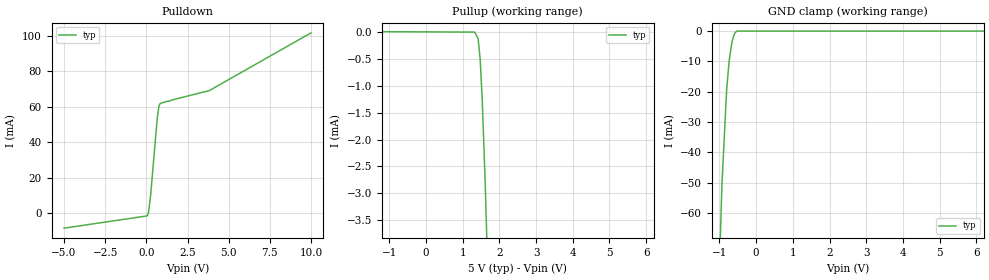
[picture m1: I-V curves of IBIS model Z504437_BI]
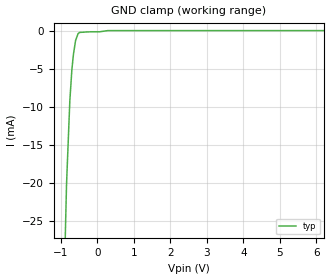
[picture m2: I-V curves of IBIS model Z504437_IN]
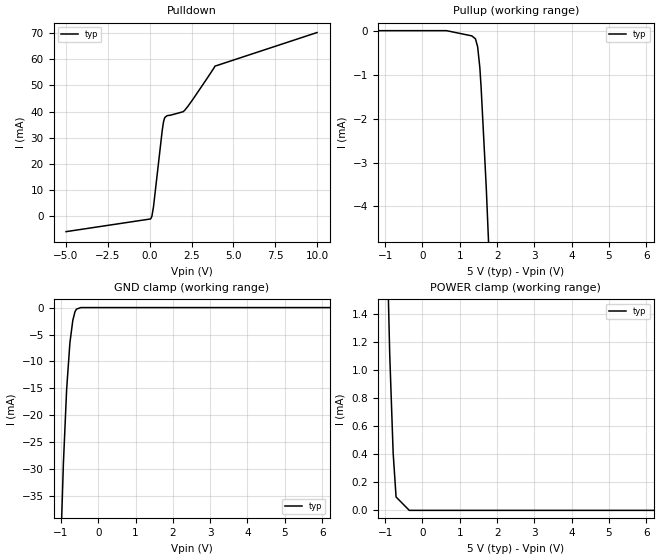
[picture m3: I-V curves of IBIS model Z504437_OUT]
| YOU ARE ONLY AUTHORIZED TO USE THIS SOFTWARE
| ACCORDING TO LICENSOR'S LICENSE RESTRICTIONS.
[IBIS Ver] 3.1
[File Name] sn54ls299j.ibs
[File Rev] 2.0
[Source] Measured and created by ICX Technology
[Date] Friday 7/14/00 9:08:14 AM
[Copyright]
| (C) COPYRIGHT 1993-2000
| MENTOR GRAPHICS CORPORATION
| ICX STANDARD LIBRARY, ICX PROJECT MODELING,
| ICX CUSTOM MODELING, ICX VENDOR MODEL
| ALL RIGHTS RESERVED.
| THE FOLLOWING ARE TRADEMARKS OR SERVICE MARKS OF
| MENTOR GRAPHICS CORPORATION:ICX (R), ICX STANDARD
| LIBRARY(R), ICX PROJECT MODELING(R), ICX CUSTOM
| MODELING(R), qualityIBIS(TM), MODELVIEWER(TM),
| AND MODELEDITOR(TM)
| ALL COPIES OF SOFTWARE, INCLUDING BUT NOT LIMITED TO
| ANY MODIFICATIONS, ENHANCEMENTS OR DERIVATIVE WORKS,
| MUST CONTAIN ALL MENTOR GRAPHICS CORPORATION'S
| NOTICES AND LEGENDS, INCLUDING THOSE EMBEDDED IN
| SOFTWARE AND THOSE AFFIXED TO SOFTWARE MEDIUM
| AND CONTAINER, AS RECEIVED FROM MENTOR GRAPHICS
| CORPORATION.
|  ZAP Model Builder 2.7
[Component] SN54LS299J
[Manufacturer] OnSemiconductor
[Package]
| variable   typ   min   max
R_pkg  .216ohms NA NA
L_pkg  5.76nH NA NA
C_pkg  2.193pF NA NA
[Pin] signal_name  model_name  R_pin  L_pin C_pin
1 S0 Z504437_IN .232 9.76n 3.179p
2 _G1 Z504437_IN .224 7.26n 2.686p
3 _G2 Z504437_IN .216 5.26n 2.193p
4 G_QG Z504437_BI .208 3.76n 1.7p
5 E_QE Z504437_BI .2 2.76n 1.207p
6 C_QC Z504437_BI .2 2.76n 1.207p
7 A_QA Z504437_BI .208 3.76n 1.7p
8 QAP Z504437_OUT .216 5.26n 2.193p
9 _CLR Z504437_IN .224 7.26n 2.686p
10 GND GND .232 9.76n 3.179p
11 SR Z504437_IN .232 9.76n 3.179p
12 CLK Z504437_IN .224 7.26n 2.686p
13 B_QB Z504437_BI .216 5.26n 2.193p
14 D_QD Z504437_BI .208 3.76n 1.7p
15 F_QF Z504437_BI .2 2.76n 1.207p
16 H_QH Z504437_BI .2 2.76n 1.207p
17 QH Z504437_OUT .208 3.76n 1.7p
18 SL Z504437_IN .216 5.26n 2.193p
19 S1 Z504437_IN .224 7.26n 2.686p
20 VCC POWER .232 9.76n 3.179p
| Models and submodels in the file (3): Z504437_BI (I/O), Z504437_IN (Input), Z504437_OUT (Output)
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| (C) COPYRIGHT 1993-2000
| MENTOR GRAPHICS CORPORATION
| ICX STANDARD LIBRARY, ICX PROJECT MODELING,
| ICX CUSTOM MODELING, ICX VENDOR MODEL
| ALL RIGHTS RESERVED.
| THE FOLLOWING ARE TRADEMARKS OR SERVICE MARKS OF
| MENTOR GRAPHICS CORPORATION:ICX (R), ICX STANDARD
| LIBRARY(R), ICX PROJECT MODELING(R), ICX CUSTOM
| MODELING(R), qualityIBIS(TM), MODELVIEWER(TM),
| AND MODELEDITOR(TM)
| ALL COPIES OF SOFTWARE, INCLUDING BUT NOT LIMITED TO
| ANY MODIFICATIONS, ENHANCEMENTS OR DERIVATIVE WORKS,
| MUST CONTAIN ALL MENTOR GRAPHICS CORPORATION'S
| NOTICES AND LEGENDS, INCLUDING THOSE EMBEDDED IN
| SOFTWARE AND THOSE AFFIXED TO SOFTWARE MEDIUM
| AND CONTAINER, AS RECEIVED FROM MENTOR GRAPHICS
| CORPORATION.
| Model Application Version 1.89 2/18/99.
[Model] Z504437_BI
Model_type I/O
Vinl=800.0mV
Vinh=2.000V
Vref=588.0mV
Rref=588.5ohms
Cref=45.00pF
Vmeas=1.300V
C_comp 8.000pF NA NA
| variable typ   min   max
[Voltage Range] 5.000V NA NA
[POWER Clamp Reference] 5.000V NA NA
[Pullup Reference] 5.000V NA NA
[Pulldown Reference] 0.000V NA NA
[GND Clamp Reference] 0.000V NA NA
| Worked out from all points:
|   slope of the pulldown table from 0 to 0.75 V, typ, clamps not added: 12.3 ohm
|   GND clamp passes 1 mA (typ) near -0.59 V on its own axis
[GND Clamp]
-5V       -2.295A    NA         NA
-1.045V   -94.38mA   NA         NA
-931.4mV  -50.43mA   NA         NA
-804.1mV  -19.37mA   NA         NA
-737.3mV  -9.96mA    NA         NA
-659.2mV  -3.596mA   NA         NA
-605.5mV  -1.33mA    NA         NA
-566.4mV  -450.1uA   NA         NA
-527.6mV  -20.26uA   NA         NA
-395.7mV  0A         NA         NA
10V       0A         NA         NA
[Pulldown]
-5V       -8.346mA   NA         NA
29.49mV   -1.46mA    NA         NA
87.85mV   -752.2uA   NA         NA
131.7mV   554.4uA    NA         NA
257.6mV   10.06mA    NA         NA
667.3mV   54.05mA    NA         NA
761.7mV   60.15mA    NA         NA
839.2mV   61.75mA    NA         NA
3.823V    69.12mA    NA         NA
10V       101.6mA    NA         NA
[Pullup]
-5V       20.11uA    NA         NA
1.325V    345.6nA    NA         NA
1.421V    -122.9uA   NA         NA
1.477V    -505.1uA   NA         NA
1.533V    -1.254mA   NA         NA
1.615V    -2.832mA   NA         NA
10V       -202mA     NA         NA
[POWER Clamp]
-5V       0A         NA         NA
10V       0A         NA         NA
[Ramp]
| variable typ min max
dV/dt_r 1.876/7.151n NA NA
dV/dt_f 1.876/2.741n NA NA
R_load = 500.0Ohms
| (C) COPYRIGHT 1993-2000
| MENTOR GRAPHICS CORPORATION
| ICX STANDARD LIBRARY, ICX PROJECT MODELING,
| ICX CUSTOM MODELING, ICX VENDOR MODEL
| ALL RIGHTS RESERVED.
| THE FOLLOWING ARE TRADEMARKS OR SERVICE MARKS OF
| MENTOR GRAPHICS CORPORATION:ICX (R), ICX STANDARD
| LIBRARY(R), ICX PROJECT MODELING(R), ICX CUSTOM
| MODELING(R), qualityIBIS(TM), MODELVIEWER(TM),
| AND MODELEDITOR(TM)
| ALL COPIES OF SOFTWARE, INCLUDING BUT NOT LIMITED TO
| ANY MODIFICATIONS, ENHANCEMENTS OR DERIVATIVE WORKS,
| MUST CONTAIN ALL MENTOR GRAPHICS CORPORATION'S
| NOTICES AND LEGENDS, INCLUDING THOSE EMBEDDED IN
| SOFTWARE AND THOSE AFFIXED TO SOFTWARE MEDIUM
| AND CONTAINER, AS RECEIVED FROM MENTOR GRAPHICS
| CORPORATION.
| Model Application Version 1.89 2/18/99.
[Model] Z504437_IN
Model_type Input
Vinl = 800.0mV
Vinh = 2.000V
C_comp 4.000pF NA NA
| variable typ   min   max
[Voltage Range] 5.000V NA NA
[GND Clamp Reference] 0.000V NA NA
[POWER Clamp Reference] 5.000V NA NA
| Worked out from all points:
|   GND clamp passes 1 mA (typ) near -0.57 V on its own axis
[GND Clamp]
-5V       -852.5mA   NA         NA
-843.8mV  -20.19mA   NA         NA
-753.9mV  -9.251mA   NA         NA
-698.2mV  -5.157mA   NA         NA
-654.5mV  -3.104mA   NA         NA
-595.7mV  -1.285mA   NA         NA
-527.3mV  -390.8uA   NA         NA
-483.7mV  -234.3uA   NA         NA
-241.9mV  -161.8uA   NA         NA
68.59mV   -149.1uA   NA         NA
287.9mV   2.42uA     NA         NA
10V       6.723uA    NA         NA
[POWER Clamp]
-5V       0A         NA         NA
10V       0A         NA         NA
| (C) COPYRIGHT 1993-2000
| MENTOR GRAPHICS CORPORATION
| ICX STANDARD LIBRARY, ICX PROJECT MODELING,
| ICX CUSTOM MODELING, ICX VENDOR MODEL
| ALL RIGHTS RESERVED.
| THE FOLLOWING ARE TRADEMARKS OR SERVICE MARKS OF
| MENTOR GRAPHICS CORPORATION:ICX (R), ICX STANDARD
| LIBRARY(R), ICX PROJECT MODELING(R), ICX CUSTOM
| MODELING(R), qualityIBIS(TM), MODELVIEWER(TM),
| AND MODELEDITOR(TM)
| ALL COPIES OF SOFTWARE, INCLUDING BUT NOT LIMITED TO
| ANY MODIFICATIONS, ENHANCEMENTS OR DERIVATIVE WORKS,
| MUST CONTAIN ALL MENTOR GRAPHICS CORPORATION'S
| NOTICES AND LEGENDS, INCLUDING THOSE EMBEDDED IN
| SOFTWARE AND THOSE AFFIXED TO SOFTWARE MEDIUM
| AND CONTAINER, AS RECEIVED FROM MENTOR GRAPHICS
| CORPORATION.
| Model Application Version 1.89 2/18/99.
[Model] Z504437_OUT
Model_type Output
Vref=5.000V
Rref=2.000kohms
Cref=15.00pF
Vmeas=1.300V
C_comp 8.000pF NA NA
| variable typ   min   max
[Voltage Range] 5.000V NA NA
[POWER Clamp Reference] 5.000V NA NA
[Pullup Reference] 5.000V NA NA
[Pulldown Reference] 0.000V NA NA
[GND Clamp Reference] 0.000V NA NA
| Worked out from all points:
|   slope of the pulldown table from 0 to 0.75 V, typ, clamps not added: 22.1 ohm
|   slope of the pullup table from 0 to 0.75 V, typ, clamps not added: 40.3 kohm
|   GND clamp passes 1 mA (typ) near -0.63 V on its own axis
|   POWER clamp passes 1 mA (typ) near -0.86 V on its own axis
[GND Clamp]
-5V       -1.462A    NA         NA
-1.152V   -85.81mA   NA         NA
-1.015V   -46.39mA   NA         NA
-935.3mV  -28.96mA   NA         NA
-849.2mV  -15.27mA   NA         NA
-761.6mV  -6.583mA   NA         NA
-682.9mV  -2.366mA   NA         NA
-625mV    -777.9uA   NA         NA
-586mV    -292.3uA   NA         NA
-468.8mV  0A         NA         NA
10V       0A         NA         NA
[Pulldown]
-5V       -5.859mA   NA         NA
68.51mV   -884.5uA   NA         NA
131.8mV   42.69uA    NA         NA
224.6mV   3.579mA    NA         NA
751.9mV   33.04mA    NA         NA
825.4mV   36.1mA     NA         NA
927.7mV   37.88mA    NA         NA
2.001V    39.96mA    NA         NA
2.098V    40.55mA    NA         NA
2.595V    44.82mA    NA         NA
3.896V    57.35mA    NA         NA
10V       70.2mA     NA         NA
[Pullup]
-5V       16.01uA    NA         NA
644mV     16.01uA    NA         NA
1.323V    -103.2uA   NA         NA
1.421V    -171.1uA   NA         NA
1.479V    -355.2uA   NA         NA
1.538V    -829.2uA   NA         NA
1.572V    -1.282mA   NA         NA
1.709V    -3.553mA   NA         NA
10V       -171.8mA   NA         NA
[POWER Clamp]
-5V       54.4mA     NA         NA
-1.04V    2.919mA    NA         NA
-878mV    1.115mA    NA         NA
-786mV    409.6uA    NA         NA
-708mV    95.69uA    NA         NA
-354mV    0A         NA         NA
10V       0A         NA         NA
[Ramp]
| variable typ min max
dV/dt_r 1.825/6.719n NA NA
dV/dt_f 1.825/2.616n NA NA
R_load = 500.0Ohms
